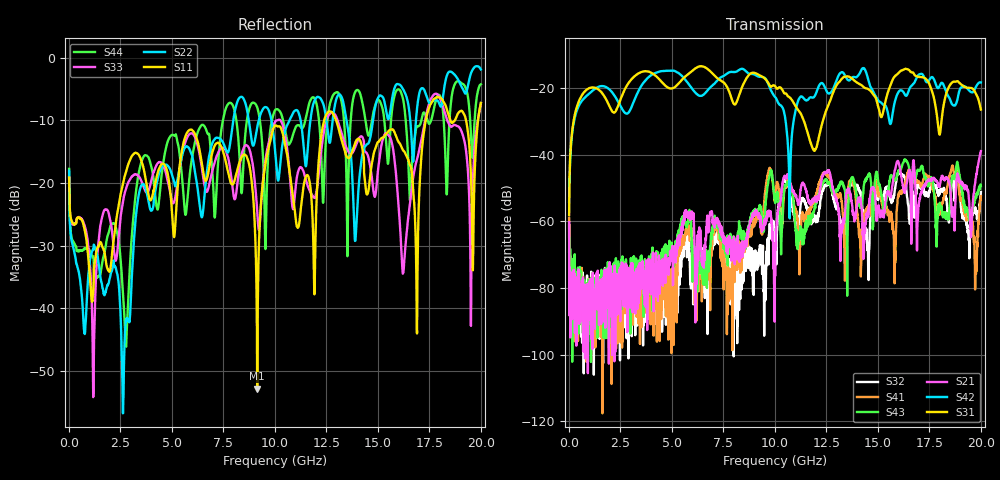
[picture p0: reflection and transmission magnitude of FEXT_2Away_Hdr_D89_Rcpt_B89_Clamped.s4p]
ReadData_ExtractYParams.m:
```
clear all

filename = "FEXT_2Away_Hdr_D89_Rcpt_B89_Clamped.s4p";
fileID = fopen(filename); % open the file from which to read data

NUMBER_OF_PORTS = 4;

line = fgetl(fileID);

while (line(1) ~= '#') % find the start of the data
    line = fgetl(fileID);
end

stringArray = " ";
inLine = 1;
outLine = 1; % index of the input and output lines
temp = ""; % current output line being parsed
frequencies = 0;

while ~feof(fileID)
%     for i = 1:NUMBER_OF_PORTS
%         line = line + " " + string(fgetl(fileID));
%     end
    line = string(fgetl(fileID));

    if (mod(inLine , NUMBER_OF_PORTS) == 1) % the first line, containing frequency
        temp = line;

    elseif (mod(inLine , NUMBER_OF_PORTS) == 0)% the last line in the measurement
        temp = temp + " " + line;

        % take and store the frequency
        frequencies(outLine) = extractBefore(temp, " ");
        stringArray(outLine) = extractAfter(temp, " ");

        outLine = outLine + 1;

    else % neither first nor last line in the set
        temp = temp + " " + line;
    end

    inLine = inLine + 1;
end


numsArray = zeros(size(stringArray, 2), 2*NUMBER_OF_PORTS*NUMBER_OF_PORTS);
% allocate array for s parameters
sparams = zeros(NUMBER_OF_PORTS, NUMBER_OF_PORTS, max(size(numsArray)));
% N x N x frequencies

% there's 32 numbers in a line
% 16 complex numbers in a line
% need a NxN array for every line


% get every number in the string array and make them their own s parameters
for i = 1:max(size(stringArray)) % for every line, every string in stringArray

    numsArray(i,:) = str2num(stringArray(i)); % make each number its own element
    count = 1; % final count of s params

    for j = 1:NUMBER_OF_PORTS % for 4 complex numbers (8 numbers total)
        for k = 1:2:NUMBER_OF_PORTS*2 
            sparams(j,round(k/2),i) = numsArray(i,(k+(j-1)*8)) + numsArray(i,((k+1)+(j-1)*8))*1j;
        end
    end
end

fclose(fileID);

% returns yparams
yparams = s2y(sparams);

yReshaped = reshape(yparams, [NUMBER_OF_PORTS*NUMBER_OF_PORTS length(frequencies)]);
```
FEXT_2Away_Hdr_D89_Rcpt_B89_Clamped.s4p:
!Agilent Technologies,N5245A,MY51251303,A.09.42.12
!Agilent N5245A: A.09.42.12
!Date: Friday, March 09, 2012 11:25:14
!Correction: S11(Full 4 Port(1,2,3,4))
!S12(Full 4 Port(1,2,3,4))
!S13(Full 4 Port(1,2,3,4))
!S14(Full 4 Port(1,2,3,4))
!S21(Full 4 Port(1,2,3,4))
!S22(Full 4 Port(1,2,3,4))
!S23(Full 4 Port(1,2,3,4))
!S24(Full 4 Port(1,2,3,4))
!S31(Full 4 Port(1,2,3,4))
!S32(Full 4 Port(1,2,3,4))
!S33(Full 4 Port(1,2,3,4))
!S34(Full 4 Port(1,2,3,4))
!S41(Full 4 Port(1,2,3,4))
!S42(Full 4 Port(1,2,3,4))
!S43(Full 4 Port(1,2,3,4))
!S44(Full 4 Port(1,2,3,4))
!S4P File: Measurements: <S11,S12,S13,S14>,
!<S21,S22,S23,S24>,
!<S31,S32,S33,S34>,
!<S41,S42,S43,S44>:
# Hz S  dB  R 50
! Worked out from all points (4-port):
!   2000 points, 10 MHz to 20 GHz, reference 50 ohm
!   strongest paths, dB at 10 MHz, 5.01 GHz, 10.01 GHz, 15.01 GHz, 20 GHz:
!     S31: -58.1, -20.1, -19.4, -25.5, -26.4
!     S42: -54.1, -14.7, -22.7, -23.6, -18.3
!     S21: -60.2, -67.9, -76.4, -56.4, -38.9
!     S43: -69.1, -70.1, -54.5, -47.4, -49.4
!     S41: -59.0, -81.6, -52.7, -52.5, -52.4
!     S32: -61.1, -84.4, -63.4, -53.5, -51.2
!   lowest |S11| = -52.9 dB at 9.14 GHz (marker M1), VSWR 1.00, Z = 49.8 + j0.101 ohm
!   |S11| at or under -10 dB: start of sweep to 12.39 GHz; 12.97 GHz to 17.32 GHz (4.351 GHz wide, 28.7 % of centre); 19.28 GHz to 19.86 GHz (579.9 MHz wide, 2.96 % of centre)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
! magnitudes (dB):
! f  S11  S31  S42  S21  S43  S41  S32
! 10 MHz  -19.1  -58.1  -54.1  -60.2  -69.1  -59.0  -61.1
! 9.14 GHz  -52.9  -15.7  -16.4  -58.1  -57.2  -59.4  -74.5
! 20 GHz  -7.2  -26.4  -18.3  -38.9  -49.4  -52.4  -51.2
